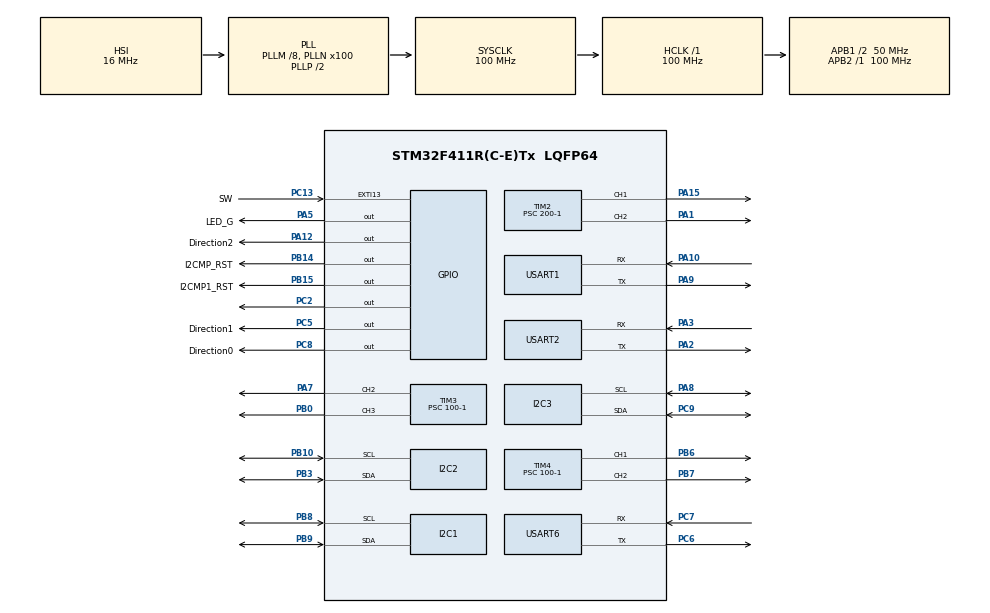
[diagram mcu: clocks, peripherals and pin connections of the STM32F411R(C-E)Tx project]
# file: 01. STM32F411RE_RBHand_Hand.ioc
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Mcu.Family=STM32F4
Mcu.Name=STM32F411R(C-E)Tx
Mcu.Package=LQFP64
NVIC.EXTI15_10_IRQn=true\:0\:0\:false\:false\:true\:true\:true\:true
NVIC.PriorityGroup=NVIC_PRIORITYGROUP_4
NVIC.TIM1_UP_TIM10_IRQn=true\:0\:0\:false\:false\:true\:true\:true\:true
NVIC.TIM3_IRQn=true\:0\:0\:false\:false\:true\:true\:true\:true
NVIC.TIM4_IRQn=true\:0\:0\:false\:false\:true\:true\:true\:true
NVIC.USART1_IRQn=true\:0\:0\:false\:false\:true\:true\:true\:true
NVIC.USART2_IRQn=true\:0\:0\:false\:false\:true\:true\:true\:true
NVIC.USART6_IRQn=true\:0\:0\:false\:false\:true\:true\:true\:true
PA1.Signal=S_TIM2_CH2
PA10.Mode=Asynchronous
PA10.Signal=USART1_RX
PA12.GPIO_Label=Direction2
PA12.Signal=GPIO_Output
PA13.Mode=Serial_Wire
PA13.Signal=SYS_JTMS-SWDIO
PA14.Mode=Serial_Wire
PA14.Signal=SYS_JTCK-SWCLK
PA15.Signal=S_TIM2_CH1_ETR
PA2.Mode=Asynchronous
PA2.Signal=USART2_TX
PA3.Mode=Asynchronous
PA3.Signal=USART2_RX
PA5.GPIO_Label=LED_G
PA5.Signal=GPIO_Output
PA7.GPIO_PuPd=GPIO_PULLDOWN
PA7.Signal=S_TIM3_CH2
PA8.Mode=I2C
PA8.Signal=I2C3_SCL
PA9.Mode=Asynchronous
PA9.Signal=USART1_TX
PB0.GPIO_PuPd=GPIO_PULLDOWN
PB0.Signal=S_TIM3_CH3
PB10.Mode=I2C
PB10.Signal=I2C2_SCL
PB14.GPIO_Label=I2CMP_RST
PB14.Signal=GPIO_Output
PB15.GPIO_Label=I2CMP1_RST
PB15.Signal=GPIO_Output
PB3.Mode=I2C
PB3.Signal=I2C2_SDA
PB6.GPIO_PuPd=GPIO_PULLDOWN
PB6.Signal=S_TIM4_CH1
PB7.GPIO_PuPd=GPIO_PULLDOWN
PB7.Signal=S_TIM4_CH2
PB8.Mode=I2C
PB8.Signal=I2C1_SCL
PB9.Mode=I2C
PB9.Signal=I2C1_SDA
PC13-ANTI_TAMP.GPIO_Label=SW
PC13-ANTI_TAMP.GPIO_ModeDefaultEXTI=GPIO_MODE_IT_FALLING
PC13-ANTI_TAMP.Signal=GPXTI13
PC2.Signal=GPIO_Output
PC5.GPIO_Label=Direction1
PC5.Signal=GPIO_Output
PC6.Mode=Asynchronous
PC6.Signal=USART6_TX
PC7.Mode=Asynchronous
PC7.Signal=USART6_RX
PC8.GPIO_Label=Direction0
PC8.Signal=GPIO_Output
PC9.Mode=I2C
PC9.Signal=I2C3_SDA
PH0\ -\ OSC_IN.Mode=HSE-External-Clock-Source
PH0\ -\ OSC_IN.Signal=RCC_OSC_IN
PH1\ -\ OSC_OUT.Mode=HSE-External-Clock-Source
PH1\ -\ OSC_OUT.Signal=RCC_OSC_OUT
ProjectManager.HeapSize=0x200
ProjectManager.StackSize=0x400
ProjectManager.TargetToolchain=STM32CubeIDE
RCC.48MHZClocksFreq_Value=50000000
RCC.AHBFreq_Value=100000000
RCC.APB1CLKDivider=RCC_HCLK_DIV2
RCC.APB1Freq_Value=50000000
RCC.APB1TimFreq_Value=100000000
RCC.APB2Freq_Value=100000000
RCC.APB2TimFreq_Value=100000000
RCC.CortexFreq_Value=100000000
RCC.HCLKFreq_Value=100000000
RCC.HSE_VALUE=8000000
RCC.HSI_VALUE=16000000
RCC.LSE_VALUE=32768
RCC.PLLM=8
RCC.PLLN=100
RCC.SYSCLKFreq_VALUE=100000000
RCC.SYSCLKSource=RCC_SYSCLKSOURCE_PLLCLK
RCC.VCOOutputFreq_Value=200000000
SH.S_TIM2_CH1_ETR.0=TIM2_CH1,PWM Generation1 CH1
SH.S_TIM2_CH2.0=TIM2_CH2,PWM Generation2 CH2
SH.S_TIM3_CH2.0=TIM3_CH2,PWM Generation2 CH2
SH.S_TIM3_CH3.0=TIM3_CH3,PWM Generation3 CH3
SH.S_TIM4_CH1.0=TIM4_CH1,PWM Generation1 CH1
SH.S_TIM4_CH2.0=TIM4_CH2,PWM Generation2 CH2
TIM10.Period=1000-1
TIM10.Prescaler=100-1
TIM2.Channel-PWM\ Generation1\ CH1=TIM_CHANNEL_1
TIM2.Channel-PWM\ Generation2\ CH2=TIM_CHANNEL_2
TIM2.Period=10000-1
TIM2.Prescaler=200-1
TIM2.Pulse-PWM\ Generation1\ CH1=0
TIM3.Channel-PWM\ Generation2\ CH2=TIM_CHANNEL_2
TIM3.Channel-PWM\ Generation3\ CH3=TIM_CHANNEL_3
TIM3.Period=65535
TIM3.Prescaler=100-1
TIM3.Pulse-PWM\ Generation2\ CH2=0
TIM3.Pulse-PWM\ Generation3\ CH3=0
TIM4.Channel-PWM\ Generation1\ CH1=TIM_CHANNEL_1
TIM4.Channel-PWM\ Generation2\ CH2=TIM_CHANNEL_2
TIM4.Period=65535
TIM4.Prescaler=100-1
TIM4.Pulse-PWM\ Generation1\ CH1=0
TIM4.Pulse-PWM\ Generation2\ CH2=0
USART1.VirtualMode=VM_ASYNC
USART2.VirtualMode=VM_ASYNC
USART6.VirtualMode=VM_ASYNC
VP_TIM10_VS_ClockSourceINT.Mode=Enable_Timer
VP_TIM2_VS_ClockSourceINT.Mode=Internal
VP_TIM3_VS_ClockSourceINT.Mode=Internal
VP_TIM4_VS_ClockSourceINT.Mode=Internal
board=custom

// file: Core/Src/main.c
/* USER CODE BEGIN Header */
/**
  ******************************************************************************
  * @file           : main.c
  * @brief          : Main program body
  ******************************************************************************
  * @attention
  *
  * Copyright (c) 2023 STMicroelectronics.
  * All rights reserved.
  *
  * This software is licensed under terms that can be found in the LICENSE file
  * in the root directory of this software component.
  * If no LICENSE file comes with this software, it is provided AS-IS.
  *
  ******************************************************************************
  */
/* USER CODE END Header */
#include "main.h"
#include "i2c.h"
#include "tim.h"
#include "usart.h"
#include "gpio.h"

/* USER CODE BEGIN Includes */
#include "I2CMultiplex.h"
#include "IMU.h"
#include "Force.h"
#include "EEPROM.h"
#include "CLI.h"
#include "WIFI.h"
#include "Motor.h"
/* USER CODE END Includes */

/* USER CODE BEGIN PV */
systick Systime;
uint8_t SW_Select, SW_flag, flag, minute_cnt = 0;
/* USER CODE END PV */

void SystemClock_Config(void);

/* USER CODE BEGIN 0 */
void HAL_UART_RxCpltCallback(UART_HandleTypeDef *huart)
{
	if (huart->Instance == USART1)
	{
		uart_hal_rx.buffer[uart_hal_rx.input_p++] = uart_hal_rx.temp;
		if(uart_hal_rx.input_p >= UART_RX_BUFFER_SIZE)
		{
			uart_hal_rx.input_p = 0;
		}
		HAL_UART_Receive_IT(&WiFi_UART, &uart_hal_rx.temp, 1);
	}
	else if(huart->Instance == USART6)
	{

		uart_hal_rx_CLI.cli_buffer[uart_hal_rx_CLI.cli_input_p++] = uart_hal_rx_CLI.cli_temp;
		if(uart_hal_rx_CLI.cli_input_p >= UART_RX_CLI_BUFFER_SIZE)
		{
			uart_hal_rx_CLI.cli_input_p = 0;
		}
		HAL_UART_Receive_IT(&CLI_UART, &uart_hal_rx_CLI.cli_temp, 1);
	}
}

void HAL_GPIO_EXTI_Callback(uint16_t GPIO_Pin)
{
	if(GPIO_Pin == SW_Pin)
	{
		SW_flag = 1;
	}
}

void HAL_TIM_PeriodElapsedCallback(TIM_HandleTypeDef *htim)
{
	if(htim->Instance == TIM10)
	{
	    Systime.Flag_1ms = 1;
		Systime.Count_1ms++;
		if((Systime.Count_1ms % 10) == 0) Systime.Flag_10ms = 1;
		if((Systime.Count_1ms % 20) == 0) Systime.Flag_20ms = 1;
		if((Systime.Count_1ms % 50) == 0) Systime.Flag_50ms = 1;
		if((Systime.Count_1ms % 100) == 0) Systime.Flag_100ms = 1;
		if((Systime.Count_1ms % 200) == 0) Systime.Flag_200ms = 1;
		if((Systime.Count_1ms % 250) == 0) Systime.Flag_250ms = 1;
		if((Systime.Count_1ms % 500) == 0) Systime.Flag_500ms = 1;
		if(Systime.Count_1ms == 1000)
		{
			Systime.Flag_1000ms = 1;
			Systime.Count_1ms = 0;
		}
	}
}
/* USER CODE END 0 */

int main(void)
{

  /* MCU Configuration--------------------------------------------------------*/

  /* Reset of all peripherals, Initializes the Flash interface and the Systick. */
  HAL_Init();

  /* Configure the system clock */
  SystemClock_Config();

  /* Initialize all configured peripherals */
  MX_GPIO_Init();
  MX_I2C1_Init();
  MX_I2C2_Init();
  MX_I2C3_Init();
  MX_USART1_UART_Init();
  MX_USART2_UART_Init();
  MX_USART6_UART_Init();
  MX_TIM2_Init();
  MX_TIM10_Init();
  MX_TIM3_Init();
  MX_TIM4_Init();
  /* USER CODE BEGIN 2 */
  HAL_TIM_Base_Start_IT(&htim10);
#ifdef Glove_mode
  IMU_I2CMultiplexer0_RST();
#endif
  Force_I2CMultiplexer1_RST();
//  Wifi_HW_Reset();

  HAL_GPIO_WritePin(LED_G_GPIO_Port, LED_G_Pin, GPIO_PIN_RESET);

  HAL_UART_Receive_IT(&WiFi_UART, &uart_hal_rx.temp, 1);
  uart_hal_rx_buffer_init();

  CalculateSModelLine(fre, period, ACCELERATED_SPEED_LENGTH, FRE_MAX, FRE_MIN, flex);

  Motor_PWM_init();
#ifdef Glove_mode
  HAL_Delay(1000);
  ALL_IMU_Initialization();
#endif
//  SW_Select = HAL_GPIO_ReadPin(SW_GPIO_Port, SW_Pin);
  SW_Select = 0;
  if(SW_Select)
  {
	  flag = 1;
  }
  else
  {
	  flag = 0;
	  HAL_UART_Receive_IT(&CLI_UART, &uart_hal_rx_CLI.cli_temp, 1);
	  uart_hal_rx_CLI_buffer_init();
	  Menu_Tree(0);
  }
  /* USER CODE END 2 */

  /* Infinite loop */
  /* USER CODE BEGIN WHILE */
  while (1)
  {
#if 0
	  TIM2->CCR1 = 350;
	  HAL_Delay(1000);
	  TIM2->CCR1 = 1000;
	  HAL_Delay(1000);
#else
	  if(Systime.Flag_1000ms)
	  {
		  Systime.Flag_1000ms = 0;
		  if(!Realtime_Start)
		  {
			  minute_cnt++;
			  if(minute_cnt % 300 == 0)
			  {
				  WifiStatus();
				  minute_cnt = 0;
			  }
		  }
	  }

	  if(flag)
	  {

	  }
	  else
	  {
		  if(Sensor_Start)
		  {
#ifdef Glove_mode
				IMU_process();
#endif
				Force_Process();
		  }

		  if(Motor_Start)
		  {
//			  Runhand_Motor_Process();
			  One_fingur_2Motor(1);
			  Stepper_motor(0, Roll_buf[1]);
			  Stepper_motor(1, Roll_buf[2]);
			  Stepper_motor(2, Roll_buf[3]);
			  Motor_Start = 0;
		  }
		  if(Realtime_Start)
		  {
//			  Realtime_Motor_Process();
//			  Motor_Test();
			  One_fingur_2Motor(0);
			  Stepper_motor(0, f_Roll1);
			  Stepper_motor(1, f_Roll2);
			  Stepper_motor(2, f_Roll3);
//			  Stepper_motor(3, f_Roll4);
		  }

		  if(Realtime_recv)
		  {
			  Realtime_recv = 0;
			  Realtime_Error = Realtime_Recieve_data();
			  if(Realtime_Error)
			  {
				  printf("Overflow Error\r\n");
				  memset(uart_hal_rx.buffer_temp, 0, sizeof(uart_hal_rx.buffer_temp));
			  }
			  else
			  {
				  Ready_Realtime_rx_Send();
			  }
			  uart_hal_rx.buf_p = 0;
			  Realtime_flag = 1;
		  }
		  uart_hal_rx_CLI_monitor();
	  }

	  uart_hal_rx_monitor();
#endif
    /* USER CODE END WHILE */

  }
}

void SystemClock_Config(void)
{
  RCC_OscInitTypeDef RCC_OscInitStruct = {0};
  RCC_ClkInitTypeDef RCC_ClkInitStruct = {0};

  /** Configure the main internal regulator output voltage
  */
  __HAL_RCC_PWR_CLK_ENABLE();
  __HAL_PWR_VOLTAGESCALING_CONFIG(PWR_REGULATOR_VOLTAGE_SCALE1);

  /** Initializes the RCC Oscillators according to the specified parameters
  * in the RCC_OscInitTypeDef structure.
  */
  RCC_OscInitStruct.OscillatorType = RCC_OSCILLATORTYPE_HSI;
  RCC_OscInitStruct.HSIState = RCC_HSI_ON;
  RCC_OscInitStruct.HSICalibrationValue = RCC_HSICALIBRATION_DEFAULT;
  RCC_OscInitStruct.PLL.PLLState = RCC_PLL_ON;
  RCC_OscInitStruct.PLL.PLLSource = RCC_PLLSOURCE_HSI;
  RCC_OscInitStruct.PLL.PLLM = 8;
  RCC_OscInitStruct.PLL.PLLN = 100;
  RCC_OscInitStruct.PLL.PLLP = RCC_PLLP_DIV2;
  RCC_OscInitStruct.PLL.PLLQ = 4;
  if (HAL_RCC_OscConfig(&RCC_OscInitStruct) != HAL_OK)
  {
    Error_Handler();
  }

  /** Initializes the CPU, AHB and APB buses clocks
  */
  RCC_ClkInitStruct.ClockType = RCC_CLOCKTYPE_HCLK|RCC_CLOCKTYPE_SYSCLK
                              |RCC_CLOCKTYPE_PCLK1|RCC_CLOCKTYPE_PCLK2;
  RCC_ClkInitStruct.SYSCLKSource = RCC_SYSCLKSOURCE_PLLCLK;
  RCC_ClkInitStruct.AHBCLKDivider = RCC_SYSCLK_DIV1;
  RCC_ClkInitStruct.APB1CLKDivider = RCC_HCLK_DIV2;
  RCC_ClkInitStruct.APB2CLKDivider = RCC_HCLK_DIV1;

  if (HAL_RCC_ClockConfig(&RCC_ClkInitStruct, FLASH_LATENCY_3) != HAL_OK)
  {
    Error_Handler();
  }
}

void Error_Handler(void)
{
  /* USER CODE BEGIN Error_Handler_Debug */
	printf("ERROR\n");
//	HAL_Delay(100);
//	NVIC_SystemReset();
  /* User can add his own implementation to report the HAL error return state */
  __disable_irq();
  while (1)
  {
  }
  /* USER CODE END Error_Handler_Debug */
}
